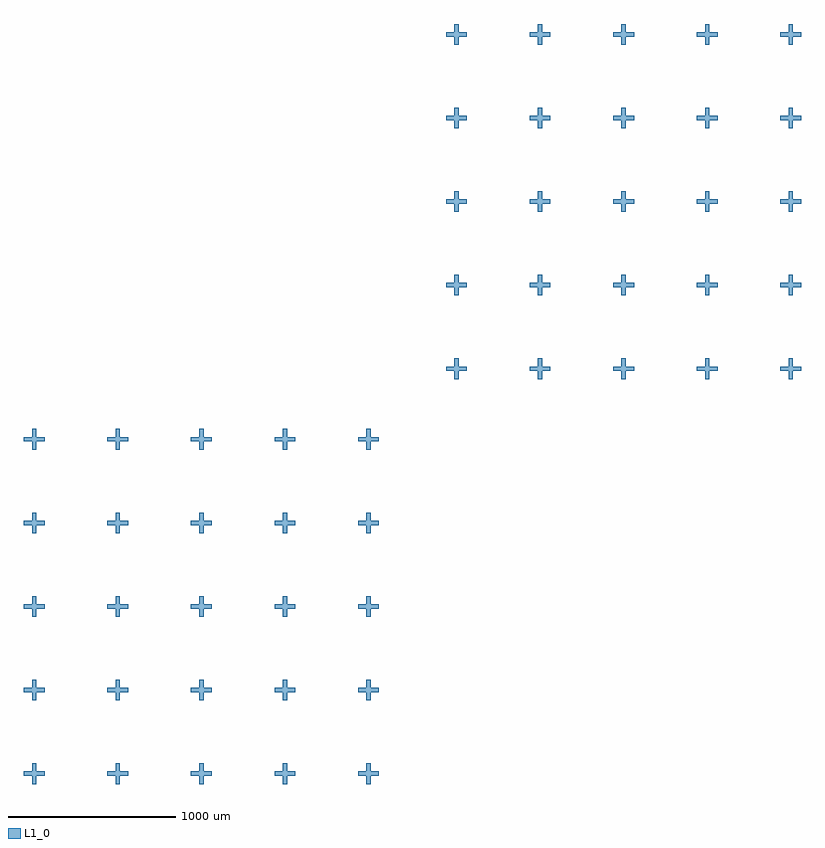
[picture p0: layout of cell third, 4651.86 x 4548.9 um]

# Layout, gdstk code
from math import pi, radians
import gdstk
lib = gdstk.Library(unit=1e-6, precision=1e-09)
def P(c, l, *ps):  # polygons
    for p in ps: c.add(gdstk.Polygon(p, *l))
L1_0 = (1, 0)

first = lib.new_cell('first')
P(first, L1_0, [(-101.724,-363.63),(-101.724,-313.63),(-151.724,-313.63),(-151.724,-288.63),(-101.724,-288.63),(-101.724,-238.63),(-76.724,-238.63),(-76.724,-288.63),(-26.724,-288.63),(-26.724,-313.63),(-76.724,-313.63),(-76.724,-363.63)])

second = lib.new_cell('second')
r = gdstk.Reference(first, (1997.152,28.484), rotation=pi/2); r.repetition = gdstk.Repetition(5, 5, v1=(0,500), v2=(-500,0)); second.add(r)

third = lib.new_cell('third')
third.add(gdstk.Reference(second, (-3936.127,2085.758)))
third.add(gdstk.Reference(second, (-1409.268,4509.659)))

lib.write_gds('third.gds')
